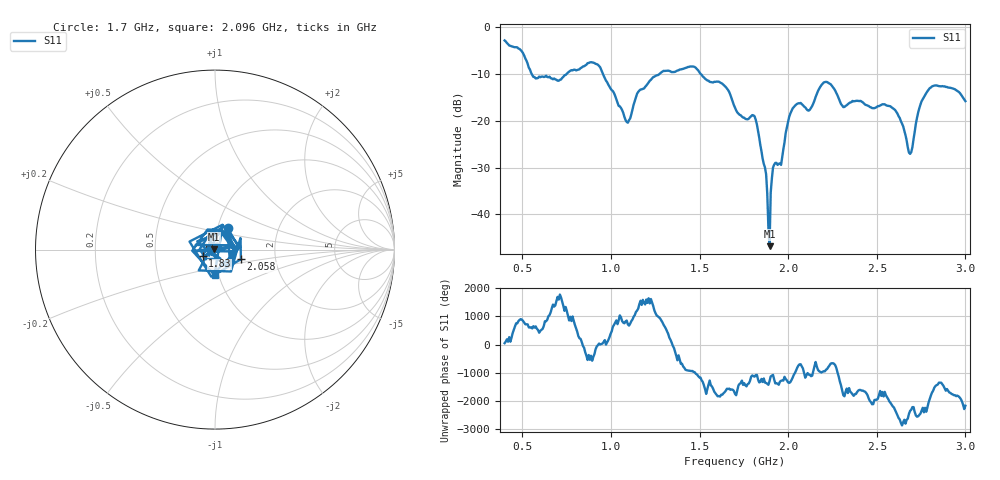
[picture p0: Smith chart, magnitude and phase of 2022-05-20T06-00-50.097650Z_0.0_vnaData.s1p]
!Created with skrf (http://scikit-rf.org).
# Hz S RI R 50.0
!freq ReS11 ImS11
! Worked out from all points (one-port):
!   401 points, 400 MHz to 3 GHz, reference 50 ohm
!   lowest |S11| = -46.8 dB at 1.895 GHz (marker M1), VSWR 1.01, Z = 49.6 + j0.241 ohm
!   |S11| at or under -10 dB: 553.3 MHz to 749.1 MHz (195.8 MHz wide, 30.1 % of centre); 954.9 MHz to 1.273 GHz (317.6 MHz wide, 28.5 % of centre); 1.508 GHz to end of sweep
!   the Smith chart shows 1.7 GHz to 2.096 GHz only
!   S11 on the Smith chart (normalised r, x): 1.7 GHz: 1.12, +0.27; 1.83 GHz: 0.87, -0.06; 2.058 GHz: 1.33, -0.15; 2.096 GHz: 0.96, -0.27
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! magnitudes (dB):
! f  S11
! 400 MHz  -2.8
! 491 MHz  -4.9
! 569 MHz  -10.6
! 725 MHz  -10.8
! 913.5 MHz  -7.8
! 1.05 GHz  -16.9
! 1.095 GHz  -20.4
! 1.161 GHz  -13.5
! 1.375 GHz  -9.2
! 1.622 GHz  -11.9
! 1.7 GHz  -17.2
! 1.804 GHz  -18.8
! 1.83 GHz  -22.1
! 1.882 GHz  -35.5
! 1.895 GHz  -46.8
! 1.921 GHz  -29.4
! 1.96 GHz  -29.4
! 2.025 GHz  -17.3
! 2.058 GHz  -16.2
! 2.096 GHz  -17.1
! 2.213 GHz  -11.7
! 2.35 GHz  -16.1
! 2.591 GHz  -17.3
! 2.675 GHz  -25.7
! 2.695 GHz  -26.7
! 2.747 GHz  -16.5
! 2.805 GHz  -12.9
! 3 GHz  -15.8
